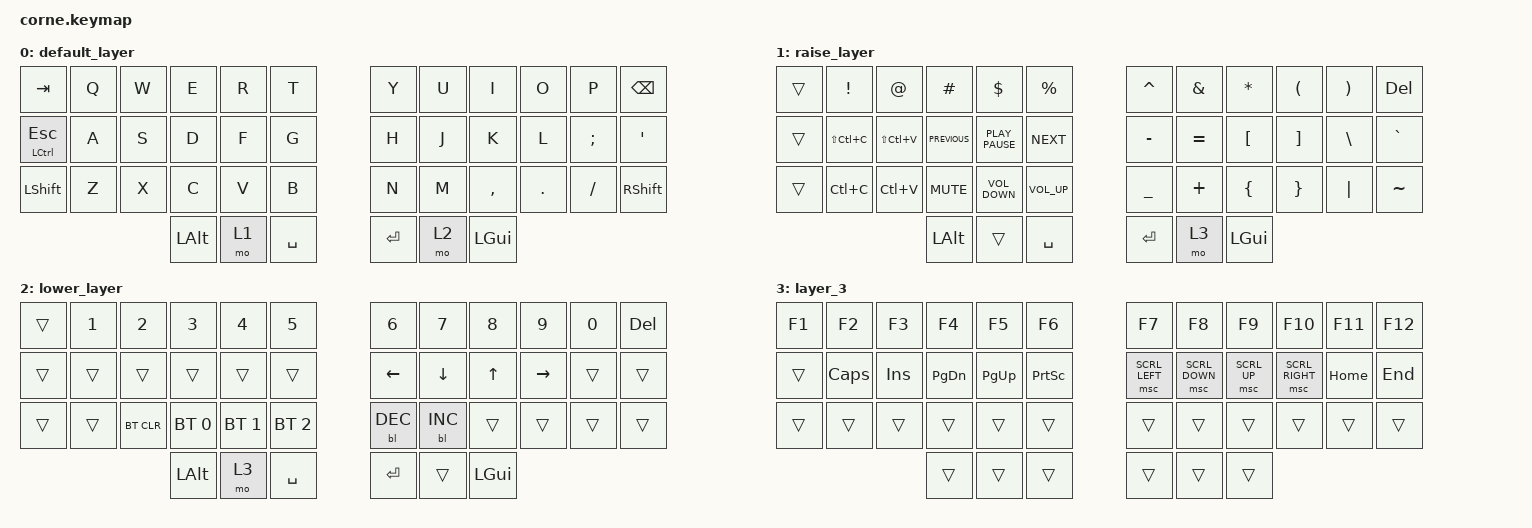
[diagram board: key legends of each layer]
/*
 * Copyright (c) 2020 The ZMK Contributors
 *
 * SPDX-License-Identifier: MIT
 */

#include <behaviors.dtsi>
#include <dt-bindings/zmk/backlight.h>
#include <dt-bindings/zmk/bt.h>
#include <dt-bindings/zmk/keys.h>
#include <dt-bindings/zmk/pointing.h>

/ {
    combos {
        compatible = "zmk,combos";

        combo_esc {
            timeout-ms = <50>;
            key-positions = <0 1>;
            bindings = <&kp ESC>;
        };
    };

    behaviors {
        ss_hs_modmorph: ss_hs_modmorph {
            compatible = "zmk,behavior-mod-morph";
            label = "SS_HS_MODMORPH";
            bindings = <&kp M>, <&kp RIGHT_BRACKET>;

            #binding-cells = <0>;
            mods = <(MOD_LSFT|MOD_RSFT)>;
        };

        kh_hs_tapdance: kh_hs_tapdance {
            compatible = "zmk,behavior-tap-dance";
            label = "KH_HS_TAPDANCE";
            #binding-cells = <0>;
            tapping-term-ms = <200>;
            bindings = <&kp LEFT_BRACKET>, <&kp RIGHT_BRACKET>;
        };

        hrm: hrm {
            compatible = "zmk,behavior-hold-tap";
            #binding-cells = <2>;
            flavor = "tap-preferred";
            tapping-term-ms = <200>;
            quick-tap-ms = <200>;
            require-prior-idle-ms = <125>;
            bindings = <&kp>, <&kp>;
        };

        nodel: nodel {
            compatible = "zmk,behavior-hold-tap";
            label = "NODEL";
            bindings = <&kp>, <&kp>;

            #binding-cells = <2>;
            tapping-term-ms = <100>;
            quick-tap-ms = <50>;
        };
    };

    keymap {
        compatible = "zmk,keymap";

        default_layer {
            // -----------------------------------------------------------------------------------------
            // |  TAB |  Q  |  W  |  E  |  R  |  T  |   |  Y  |  U   |  I  |  O  |  P  | BKSP |
            // | CTRL |  A  |  S  |  D  |  F  |  G  |   |  H  |  J   |  K  |  L  |  ;  |  '   |
            // | SHFT |  Z  |  X  |  C  |  V  |  B  |   |  N  |  M   |  ,  |  .  |  /  | ESC  |
            //                    | GUI | LWR | SPC |   | ENT | RSE  | ALT |

            bindings = <
&kp TAB              &kp Q  &kp W  &kp E         &kp R  &kp T        &kp Y    &kp U  &kp I      &kp O    &kp P     &kp BSPC
&nodel LCTRL ESCAPE  &kp A  &kp S  &kp D         &kp F  &kp G        &kp H    &kp J  &kp K      &kp L    &kp SEMI  &kp SQT
&kp LSHFT            &kp Z  &kp X  &kp C         &kp V  &kp B        &kp N    &kp M  &kp COMMA  &kp DOT  &kp FSLH  &kp RIGHT_SHIFT
                                   &kp LEFT_ALT  &mo 1  &kp SPACE    &kp RET  &mo 2  &kp LGUI
            >;
        };

        raise_layer {
            // -----------------------------------------------------------------------------------------
            // |  TAB |  !  |  @  |  #  |  $  |  %  |   |  ^  |  &  |  *  |  (  |  )  | BKSP |
            // | CTRL |     |     |     |     |     |   |  -  |  =  |  [  |  ]  |  \  |  `   |
            // | SHFT |     |     |     |     |     |   |  _  |  +  |  {  |  }  | "|" |  ~   |
            //                    | GUI |     | SPC |   | ENT |     | ALT |

            bindings = <
&trans  &kp EXCL       &kp AT         &kp HASH        &kp DLLR           &kp PRCNT          &kp CARET  &kp AMPS   &kp ASTRK  &kp LPAR  &kp RPAR  &kp DELETE
&trans  &kp LS(LC(C))  &kp LS(LC(V))  &kp K_PREVIOUS  &kp K_PLAY_PAUSE   &kp K_NEXT         &kp MINUS  &kp EQUAL  &kp LBKT   &kp RBKT  &kp BSLH  &kp GRAVE
&trans  &kp LC(C)      &kp LC(V)      &kp K_MUTE      &kp C_VOLUME_DOWN  &kp C_VOLUME_UP    &kp UNDER  &kp PLUS   &kp LBRC   &kp RBRC  &kp PIPE  &kp TILDE
                                      &kp LALT        &trans             &kp SPACE          &kp RET    &mo 3      &kp LGUI
            >;
        };

        lower_layer {
            // -----------------------------------------------------------------------------------------
            // |  TAB |  1  |  2  |  3  |  4  |  5  |   |  6  |  7  |  8  |  9  |  0  | BKSP |
            // | BTCLR| BT1 | BT2 | BT3 | BT4 | BT5 |   | LFT | DWN |  UP | RGT |     |      |
            // | SHFT |     |     |     |     |     |   |     |     |     |     |     |      |
            //                    | GUI |     | SPC |   | ENT |     | ALT |

            bindings = <
&trans  &kp N1  &kp N2      &kp N3        &kp N4        &kp N5          &kp N6      &kp N7      &kp N8    &kp N9     &kp N0  &kp DELETE
&trans  &trans  &trans      &trans        &trans        &trans          &kp LEFT    &kp DOWN    &kp UP    &kp RIGHT  &trans  &trans
&trans  &trans  &bt BT_CLR  &bt BT_SEL 0  &bt BT_SEL 1  &bt BT_SEL 2    &bl BL_DEC  &bl BL_INC  &trans    &trans     &trans  &trans
                            &kp LALT      &mo 3         &kp SPACE       &kp RET     &trans      &kp LGUI
            >;
        };

        layer_3 {
            bindings = <
&kp F1  &kp F2    &kp F3   &kp F4         &kp F5     &kp F6             &kp F7          &kp F8          &kp F9        &kp F10          &kp F11   &kp F12
&trans  &kp CAPS  &kp INS  &kp PAGE_DOWN  &kp PG_UP  &kp PRINTSCREEN    &msc SCRL_LEFT  &msc SCRL_DOWN  &msc SCRL_UP  &msc SCRL_RIGHT  &kp HOME  &kp END
&trans  &trans    &trans   &trans         &trans     &trans             &trans          &trans          &trans        &trans           &trans    &trans
                           &trans         &trans     &trans             &trans          &trans          &trans
            >;
        };
    };
};
